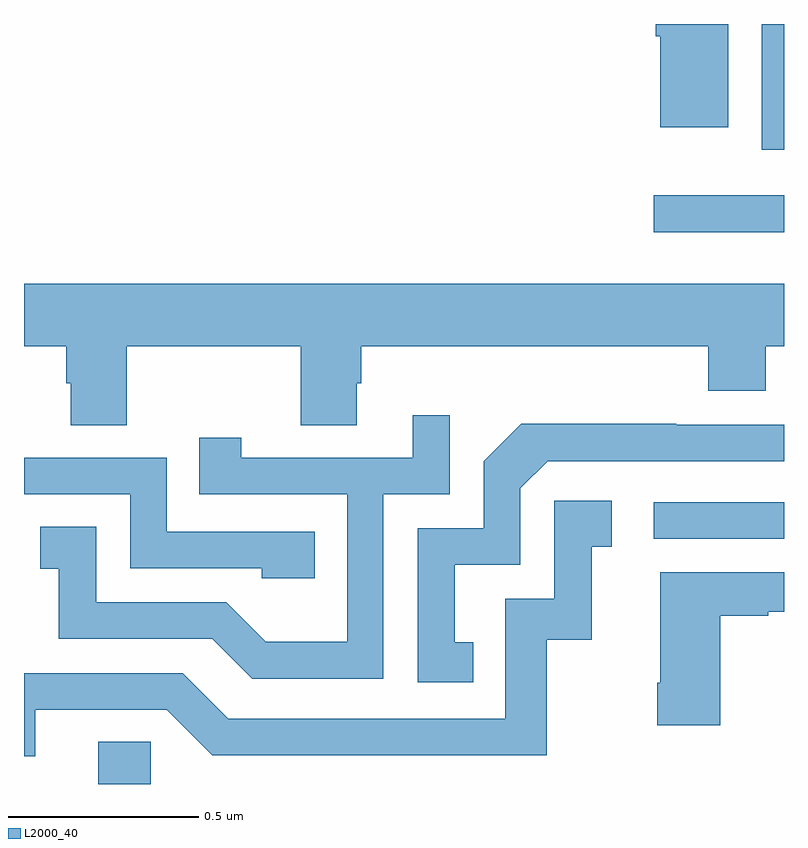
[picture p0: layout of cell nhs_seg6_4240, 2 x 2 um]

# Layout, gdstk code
import gdstk
lib = gdstk.Library(unit=1e-6, precision=1e-09)
def R(c, l, rs):  # rectangles x0, y0, x1, y1
    for r in rs: c.add(gdstk.rectangle(r[:2], r[2:], *l))
def P(c, l, *ps):  # polygons
    for p in ps: c.add(gdstk.Polygon(p, *l))
L2000_40 = (2000, 40)

nhs_seg6_4240 = lib.new_cell('nhs_seg6_4240')
R(nhs_seg6_4240, L2000_40, [(167.195,963.5,167.334,963.611), (168.657,964.146,169,964.242), (168.657,964.952,169,965.049), (168.941,965.169,169,965.5)])
P(nhs_seg6_4240, L2000_40, [(168.853,965.5),(168.662,965.5),(168.662,965.468),(168.674,965.468),(168.674,965.228),(168.853,965.228)],
  [(167.271,964.652),(167.728,964.652),(167.728,964.444),(167.875,964.444),(167.875,964.554),(167.888,964.554),(167.888,964.652),(168.8,964.652),(168.8,964.535),(168.952,964.535),(168.952,964.652),(169,964.652),(169,964.816),(167,964.816),(167,964.652),(167.111,964.652),(167.111,964.554),(167.123,964.554),(167.123,964.444),(167.271,964.444)],
  [(167.946,964.263),(168.12,964.263),(168.12,964.471),(168.023,964.471),(168.023,964.359),(167.572,964.359),(167.572,964.411),(167.461,964.411),(167.461,964.263),(167.85,964.263),(167.85,963.874),(167.636,963.874),(167.532,963.978),(167.19,963.978),(167.19,964.177),(167.043,964.177),(167.043,964.067),(167.092,964.067),(167.092,963.882),(167.495,963.882),(167.6,963.777),(167.946,963.777)],
  [(168.182,963.873),(168.133,963.873),(168.133,964.077),(168.306,964.077),(168.306,964.278),(168.378,964.35),(169,964.35),(169,964.446),(168.716,964.446),(168.716,964.448),(168.308,964.448),(168.21,964.35),(168.21,964.173),(168.036,964.173),(168.036,963.768),(168.182,963.768)],
  [(167.765,964.164),(167.376,964.164),(167.376,964.359),(167,964.359),(167,964.263),(167.28,964.263),(167.28,964.068),(167.625,964.068),(167.625,964.041),(167.765,964.041)],
  [(167.029,963.696),(167.376,963.696),(167.496,963.576),(168.376,963.576),(168.376,963.879),(168.494,963.879),(168.494,964.125),(168.547,964.125),(168.547,964.246),(168.396,964.246),(168.396,963.987),(168.267,963.987),(168.267,963.672),(167.538,963.672),(167.418,963.792),(167,963.792),(167,963.573),(167.029,963.573)],
  [(168.832,963.943),(168.959,963.943),(168.959,963.953),(169,963.953),(169,964.057),(168.674,964.057),(168.674,963.766),(168.667,963.766),(168.667,963.654),(168.832,963.654)])

lib.write_gds('nhs_seg6_4240.gds')
